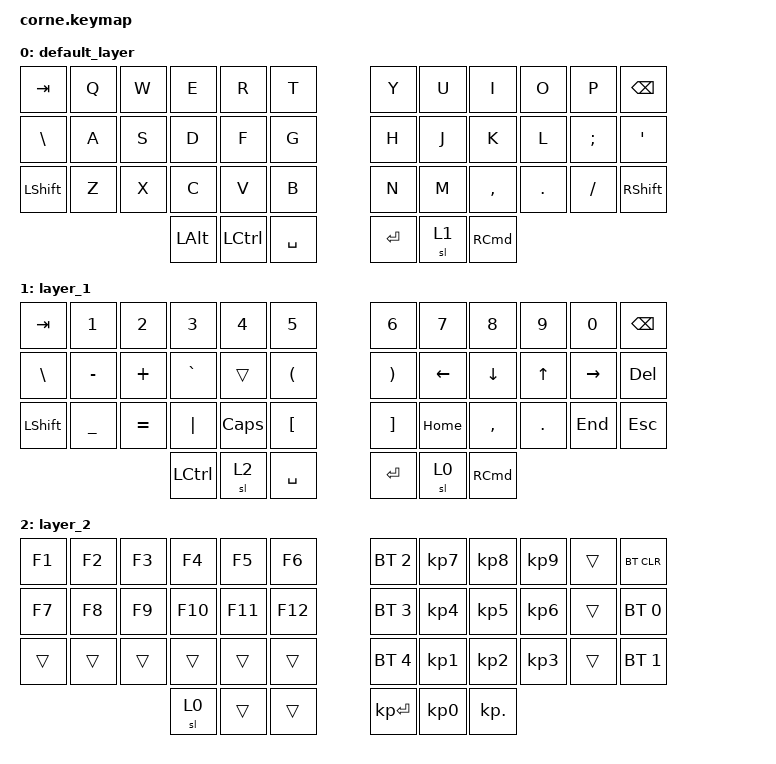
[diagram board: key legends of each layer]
/*
 * Copyright (c) 2020 The ZMK Contributors
 *
 * SPDX-License-Identifier: MIT
 */

#include <behaviors.dtsi>
#include <dt-bindings/zmk/keys.h>
#include <dt-bindings/zmk/bt.h>

/ {
        keymap {
        compatible = "zmk,keymap";

        default_layer {
            bindings = <
&kp TAB    &kp Q  &kp W  &kp E     &kp R             &kp T        &kp Y    &kp U  &kp I      &kp O    &kp P     &kp BSPC
&kp BSLH   &kp A  &kp S  &kp D     &kp F             &kp G        &kp H    &kp J  &kp K      &kp L    &kp SEMI  &kp SQT
&kp LSHFT  &kp Z  &kp X  &kp C     &kp V             &kp B        &kp N    &kp M  &kp COMMA  &kp DOT  &kp FSLH  &kp RIGHT_SHIFT
                         &kp LALT  &kp LEFT_CONTROL  &kp SPACE    &kp RET  &sl 1  &kp RCMD
            >;
        };

        layer_1 {
            bindings = <
&kp TAB    &kp N1     &kp N2     &kp N3            &kp N4        &kp N5              &kp N6             &kp N7    &kp N8     &kp N9      &kp N0     &kp BSPC
&kp BSLH   &kp MINUS  &kp PLUS   &kp GRAVE         &trans        &kp LPAR            &kp RPAR           &kp LEFT  &kp DOWN   &kp UP      &kp RIGHT  &kp DEL
&kp LSHFT  &kp UNDER  &kp EQUAL  &kp PIPE          &kp CAPSLOCK  &kp LEFT_BRACKET    &kp RIGHT_BRACKET  &kp HOME  &kp COMMA  &kp PERIOD  &kp END    &kp ESCAPE
                                 &kp LEFT_CONTROL  &sl 2         &kp SPACE           &kp RET            &sl 0     &kp RCMD
            >;
        };

        layer_2 {
            bindings = <
&kp F1  &kp F2  &kp F3  &kp F4   &kp F5   &kp F6     &bt BT_SEL 2  &kp KP_NUMBER_7  &kp KP_NUMBER_8  &kp KP_NUMBER_9  &trans  &bt BT_CLR
&kp F7  &kp F8  &kp F9  &kp F10  &kp F11  &kp F12    &bt BT_SEL 3  &kp KP_NUMBER_4  &kp KP_NUMBER_5  &kp KP_NUMBER_6  &trans  &bt BT_SEL 0
&trans  &trans  &trans  &trans   &trans   &trans     &bt BT_SEL 4  &kp KP_NUMBER_1  &kp KP_NUMBER_2  &kp KP_NUMBER_3  &trans  &bt BT_SEL 1
                        &sl 0    &trans   &trans     &kp KP_ENTER  &kp KP_NUMBER_0  &kp KP_DOT
            >;
        };
    };
};
